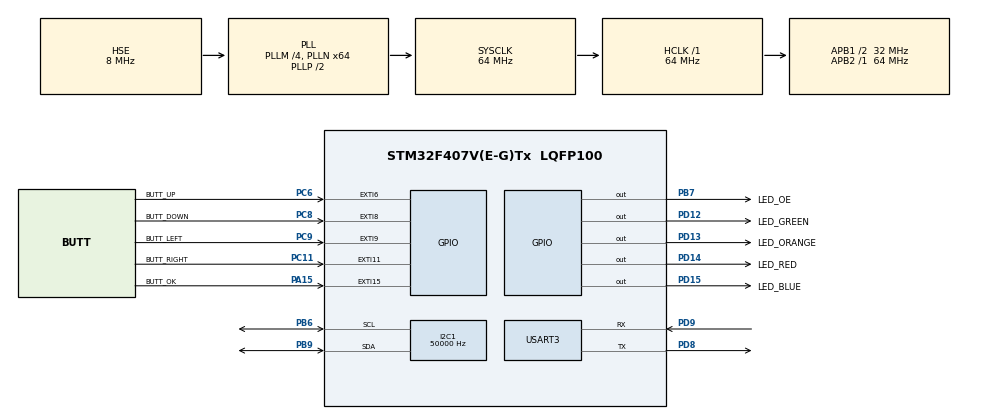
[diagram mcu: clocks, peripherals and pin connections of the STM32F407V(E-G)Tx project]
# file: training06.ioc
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Dma.Request0=USART3_RX
Dma.USART3_RX.0.Direction=DMA_PERIPH_TO_MEMORY
Dma.USART3_RX.0.FIFOMode=DMA_FIFOMODE_DISABLE
Dma.USART3_RX.0.Instance=DMA1_Stream1
Dma.USART3_RX.0.MemDataAlignment=DMA_MDATAALIGN_BYTE
Dma.USART3_RX.0.MemInc=DMA_MINC_ENABLE
Dma.USART3_RX.0.Mode=DMA_CIRCULAR
Dma.USART3_RX.0.PeriphDataAlignment=DMA_PDATAALIGN_BYTE
Dma.USART3_RX.0.PeriphInc=DMA_PINC_DISABLE
Dma.USART3_RX.0.Priority=DMA_PRIORITY_LOW
I2C1.ClockSpeed=50000
Mcu.Family=STM32F4
Mcu.Name=STM32F407V(E-G)Tx
Mcu.Package=LQFP100
Mcu.UserConstants=TIM4_PRESCALER,8;PWM_PERIOD,100;TIM10_PRESCALER,64000
NVIC.DMA1_Stream1_IRQn=true\:0\:0\:false\:false\:true\:false\:true
NVIC.EXTI15_10_IRQn=true\:0\:0\:false\:false\:true\:true\:true
NVIC.EXTI9_5_IRQn=true\:0\:0\:false\:false\:true\:true\:true
NVIC.PriorityGroup=NVIC_PRIORITYGROUP_4
PA15.GPIO_Label=BUTT_OK
PA15.GPIO_ModeDefaultEXTI=GPIO_MODE_IT_FALLING
PA15.GPIO_PuPd=GPIO_NOPULL
PA15.Signal=GPXTI15
PB6.Mode=I2C
PB6.Signal=I2C1_SCL
PB7.GPIO_Label=LED_OE
PB7.GPIO_PuPd=GPIO_PULLDOWN
PB7.Signal=GPIO_Output
PB9.Mode=I2C
PB9.Signal=I2C1_SDA
PC11.GPIO_Label=BUTT_RIGHT
PC11.GPIO_ModeDefaultEXTI=GPIO_MODE_IT_FALLING
PC11.GPIO_PuPd=GPIO_NOPULL
PC11.Signal=GPXTI11
PC6.GPIO_Label=BUTT_UP
PC6.GPIO_ModeDefaultEXTI=GPIO_MODE_IT_FALLING
PC6.GPIO_PuPd=GPIO_NOPULL
PC6.Signal=GPXTI6
PC8.GPIO_Label=BUTT_DOWN
PC8.GPIO_ModeDefaultEXTI=GPIO_MODE_IT_FALLING
PC8.GPIO_PuPd=GPIO_NOPULL
PC8.Signal=GPXTI8
PC9.GPIO_Label=BUTT_LEFT
PC9.GPIO_ModeDefaultEXTI=GPIO_MODE_IT_FALLING
PC9.GPIO_PuPd=GPIO_NOPULL
PC9.Signal=GPXTI9
PD12.GPIO_Label=LED_GREEN
PD12.Signal=GPIO_Output
PD13.GPIO_Label=LED_ORANGE
PD13.Signal=GPIO_Output
PD14.GPIO_Label=LED_RED
PD14.Signal=GPIO_Output
PD15.GPIO_Label=LED_BLUE
PD15.Signal=GPIO_Output
PD8.Mode=Asynchronous
PD8.Signal=USART3_TX
PD9.Mode=Asynchronous
PD9.Signal=USART3_RX
PH0-OSC_IN.Mode=HSE-External-Oscillator
PH0-OSC_IN.Signal=RCC_OSC_IN
PH1-OSC_OUT.Mode=HSE-External-Oscillator
PH1-OSC_OUT.Signal=RCC_OSC_OUT
ProjectManager.HeapSize=0x200
ProjectManager.StackSize=0x400
ProjectManager.TargetToolchain=STM32CubeIDE
RCC.48MHZClocksFreq_Value=32000000
RCC.AHBFreq_Value=64000000
RCC.APB1CLKDivider=RCC_HCLK_DIV2
RCC.APB1Freq_Value=32000000
RCC.APB1TimFreq_Value=64000000
RCC.APB2Freq_Value=64000000
RCC.APB2TimFreq_Value=64000000
RCC.CortexFreq_Value=64000000
RCC.HCLKFreq_Value=64000000
RCC.HSE_VALUE=8000000
RCC.HSI_VALUE=16000000
RCC.LSE_VALUE=32768
RCC.PLLM=4
RCC.PLLN=64
RCC.PLLSourceVirtual=RCC_PLLSOURCE_HSE
RCC.SYSCLKFreq_VALUE=64000000
RCC.SYSCLKSource=RCC_SYSCLKSOURCE_PLLCLK
RCC.VCOOutputFreq_Value=128000000
USART3.VirtualMode=VM_ASYNC
board=custom

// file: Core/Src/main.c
/* USER CODE BEGIN Header */
/**
  ******************************************************************************
  * @file           : main.c
  * @brief          : Main program body
  ******************************************************************************
  * @attention
  *
  * <h2><center>&copy; Copyright (c) 2021 STMicroelectronics.
  * All rights reserved.</center></h2>
  *
  * This software component is licensed by ST under BSD 3-Clause license,
  * the "License"; You may not use this file except in compliance with the
  * License. You may obtain a copy of the License at:
  *                        opensource.org/licenses/BSD-3-Clause
  *
  ******************************************************************************
  */
/* USER CODE END Header */
#include "main.h"
/* USER CODE BEGIN Includes */
#include "pca9685.h"
#include <stdio.h>
#include <string.h>
#include <ctype.h>
/* USER CODE END Includes */

/* USER CODE BEGIN PTD */
#define TX_BUF_SIZE 64
#define RX_BUF_SIZE 16
#define UART_TIMEOUT 10

#define TRUE 1
#define FALSE 0

#define DEL_SYMBOL 0x7f 		//127 - ascii code for del symbol (work as backspase as well)
#define ALL_LEDS 0xff
/* USER CODE END PTD */

I2C_HandleTypeDef hi2c1;

UART_HandleTypeDef huart3;
DMA_HandleTypeDef hdma_usart3_rx;

/* USER CODE BEGIN PV */
pcaLED_HandleTypeDef hpca1;

char ReciveBuf[RX_BUF_SIZE] = {0};
char uartReceiveChar;
char transmitBuf[TX_BUF_SIZE] = {0};

char *rxBuffPtr = ReciveBuf;

_Bool action = FALSE;
/* USER CODE END PV */

void SystemClock_Config(void);
static void MX_GPIO_Init(void);
static void MX_DMA_Init(void);
static void MX_USART3_UART_Init(void);
static void MX_I2C1_Init(void);

/* USER CODE BEGIN PFP */
static void PCA_LED_Init(void);
void parseNewCommand(void);
void printChar(char* buf);
/* USER CODE END PFP */

/* USER CODE BEGIN 0 */
int _write(int file, char* ptr, int len) {
	strncpy(transmitBuf, ptr, len);
	HAL_UART_Transmit(&huart3, (uint8_t*)transmitBuf, len, UART_TIMEOUT);
	return len;
}

/* @brief function for send one char via uart
 * @param *buf pointer to (char) value
 * @retval None
 * */
void printChar(char* buf){
	HAL_UART_Transmit(&huart3, (uint8_t*)buf, 1, UART_TIMEOUT);
}

/* @brief DMA UART3 receive complete callback
 * @param *huart pointer to uart structure
 * @retval None
 * */
void HAL_UART_RxCpltCallback (UART_HandleTypeDef * huart){
	if (uartReceiveChar == '\r') {
		*rxBuffPtr = '\0';
		rxBuffPtr = ReciveBuf;
		action = TRUE;
		return;
	}

	if ((uartReceiveChar == DEL_SYMBOL) && (rxBuffPtr > ReciveBuf)){
		rxBuffPtr--;
		printChar(&uartReceiveChar);
		return;
	}

	if ((isalnum(uartReceiveChar) || uartReceiveChar == ' ') == 0)	return;

	if (rxBuffPtr < (ReciveBuf + RX_BUF_SIZE)){
		*rxBuffPtr = uartReceiveChar;
		rxBuffPtr++;
		printChar(&uartReceiveChar);
	}
	else {
		rxBuffPtr = ReciveBuf;
		printf("\r\n--! The command is too long, try again !--\r\n");
	}
}

/* @brief parsing new string to get command from uart
 * @param none
 * @retval none
 * */
void parseNewCommand(void){
	int scanStatus;
	int ledNum = 0, ledBright = 0;
	char str1[3] = {0}, str2[3] = {0};

	scanStatus = sscanf(ReciveBuf, "%s %u %u", str1, &ledNum, &ledBright);
	if (scanStatus != 3 || (strcmp(str1, "led") != 0)){
		scanStatus = sscanf(ReciveBuf, "%s %s %u", str1, str2, &ledBright);
		ledNum = ALL_LEDS;
		if (scanStatus != 3 || (strcmp(str1, "led") != 0) || (strcmp(str2, "all") != 0)){
			printf("\r\n>>! Wrong command or format. Format: led <number> <brightness> !<<\r\n");
			return;
		}
	}
	if (ledBright > MAX_BRIGHTNESS) {
		printf("\r\n>>! Too high brightness value, will be set to 100%% !<<\r\n");
		ledBright = MAX_BRIGHTNESS;
	}
	else if (ledBright < 0){
		printf("\r\n>>! Wrong brightness value, will be set to 0%% !<<\r\n");
		ledBright = 0;
	}

	if (ledNum == ALL_LEDS) {
		if (ledBright > 0) printf("\r\n-- Light up ALL LEDs with %d%% brightness --\r\n", ledBright);
		else printf("\r\n-- Switching off ALL LEDs --\r\n");
		pcaLED_setPWM(&hpca1, LED_PIN_ALL, ledBright, DEFAULT_OFFSET);
		return;
	}
	else if (ledNum > 0 && ledNum <= MAX_NUM_OF_LEDS) {
		if (ledBright > 0) printf("\r\n-- Light up LED number %d with %d%% brightness --\r\n", ledNum, ledBright);
		else printf("\r\n-- Switching off LED number %d --\r\n", ledNum);
		pcaLED_setPWM(&hpca1, ledNum-1, ledBright, DEFAULT_OFFSET);
	}
	else printf("\r\n>>! Wrong LED number. Use 1 to 16 LED number !<<\r\n");
}

/* USER CODE END 0 */

int main(void)
{

  /* MCU Configuration--------------------------------------------------------*/

  /* Reset of all peripherals, Initializes the Flash interface and the Systick. */
  HAL_Init();

  /* Configure the system clock */
  SystemClock_Config();

  /* Initialize all configured peripherals */
  MX_GPIO_Init();
  MX_DMA_Init();
  MX_USART3_UART_Init();
  MX_I2C1_Init();

  /* USER CODE BEGIN 2 */
  HAL_Delay(100);
  PCA_LED_Init();
  UART_Start_Receive_DMA (&huart3,(uint8_t*)&uartReceiveChar, 1);

  printf("\r\n- To control LEDs use next format:\r\n"
		  	 "- led <number>(1-16/all) <brightness>(0-100)\r\n"
		  	 "- Example: led 5 100\r\n"
		  	 "- To confirm press -Enter-\r\n"
		  	 "- To correct input press -Backspace-\r\n");
  /* USER CODE END 2 */

  /* Infinite loop */
  /* USER CODE BEGIN WHILE */
  while (1)
  {
	  if (action){
		  parseNewCommand();

		  action = FALSE;
	  }
    /* USER CODE END WHILE */

  }
}

void SystemClock_Config(void)
{
  RCC_OscInitTypeDef RCC_OscInitStruct = {0};
  RCC_ClkInitTypeDef RCC_ClkInitStruct = {0};

  /** Configure the main internal regulator output voltage
  */
  __HAL_RCC_PWR_CLK_ENABLE();
  __HAL_PWR_VOLTAGESCALING_CONFIG(PWR_REGULATOR_VOLTAGE_SCALE1);
  /** Initializes the RCC Oscillators according to the specified parameters
  * in the RCC_OscInitTypeDef structure.
  */
  RCC_OscInitStruct.OscillatorType = RCC_OSCILLATORTYPE_HSE;
  RCC_OscInitStruct.HSEState = RCC_HSE_ON;
  RCC_OscInitStruct.PLL.PLLState = RCC_PLL_ON;
  RCC_OscInitStruct.PLL.PLLSource = RCC_PLLSOURCE_HSE;
  RCC_OscInitStruct.PLL.PLLM = 4;
  RCC_OscInitStruct.PLL.PLLN = 64;
  RCC_OscInitStruct.PLL.PLLP = RCC_PLLP_DIV2;
  RCC_OscInitStruct.PLL.PLLQ = 4;
  if (HAL_RCC_OscConfig(&RCC_OscInitStruct) != HAL_OK)
  {
    Error_Handler();
  }
  /** Initializes the CPU, AHB and APB buses clocks
  */
  RCC_ClkInitStruct.ClockType = RCC_CLOCKTYPE_HCLK|RCC_CLOCKTYPE_SYSCLK
                              |RCC_CLOCKTYPE_PCLK1|RCC_CLOCKTYPE_PCLK2;
  RCC_ClkInitStruct.SYSCLKSource = RCC_SYSCLKSOURCE_PLLCLK;
  RCC_ClkInitStruct.AHBCLKDivider = RCC_SYSCLK_DIV1;
  RCC_ClkInitStruct.APB1CLKDivider = RCC_HCLK_DIV2;
  RCC_ClkInitStruct.APB2CLKDivider = RCC_HCLK_DIV1;

  if (HAL_RCC_ClockConfig(&RCC_ClkInitStruct, FLASH_LATENCY_2) != HAL_OK)
  {
    Error_Handler();
  }
}

static void MX_I2C1_Init(void)
{

  hi2c1.Instance = I2C1;
  hi2c1.Init.ClockSpeed = 50000;
  hi2c1.Init.DutyCycle = I2C_DUTYCYCLE_2;
  hi2c1.Init.OwnAddress1 = 0;
  hi2c1.Init.AddressingMode = I2C_ADDRESSINGMODE_7BIT;
  hi2c1.Init.DualAddressMode = I2C_DUALADDRESS_DISABLE;
  hi2c1.Init.OwnAddress2 = 0;
  hi2c1.Init.GeneralCallMode = I2C_GENERALCALL_DISABLE;
  hi2c1.Init.NoStretchMode = I2C_NOSTRETCH_DISABLE;
  if (HAL_I2C_Init(&hi2c1) != HAL_OK)
  {
    Error_Handler();
  }

}

static void MX_USART3_UART_Init(void)
{

  huart3.Instance = USART3;
  huart3.Init.BaudRate = 115200;
  huart3.Init.WordLength = UART_WORDLENGTH_8B;
  huart3.Init.StopBits = UART_STOPBITS_1;
  huart3.Init.Parity = UART_PARITY_NONE;
  huart3.Init.Mode = UART_MODE_TX_RX;
  huart3.Init.HwFlowCtl = UART_HWCONTROL_NONE;
  huart3.Init.OverSampling = UART_OVERSAMPLING_16;
  if (HAL_UART_Init(&huart3) != HAL_OK)
  {
    Error_Handler();
  }

}

static void MX_DMA_Init(void)
{

  /* DMA controller clock enable */
  __HAL_RCC_DMA1_CLK_ENABLE();

  /* DMA interrupt init */
  /* DMA1_Stream1_IRQn interrupt configuration */
  HAL_NVIC_SetPriority(DMA1_Stream1_IRQn, 0, 0);
  HAL_NVIC_EnableIRQ(DMA1_Stream1_IRQn);

}

static void MX_GPIO_Init(void)
{
  GPIO_InitTypeDef GPIO_InitStruct = {0};

  /* GPIO Ports Clock Enable */
  __HAL_RCC_GPIOH_CLK_ENABLE();
  __HAL_RCC_GPIOD_CLK_ENABLE();
  __HAL_RCC_GPIOC_CLK_ENABLE();
  __HAL_RCC_GPIOA_CLK_ENABLE();
  __HAL_RCC_GPIOB_CLK_ENABLE();

  /*Configure GPIO pin Output Level */
  HAL_GPIO_WritePin(GPIOD, LED_GREEN_Pin|LED_ORANGE_Pin|LED_RED_Pin|LED_BLUE_Pin, GPIO_PIN_RESET);

  /*Configure GPIO pin Output Level */
  HAL_GPIO_WritePin(LED_OE_GPIO_Port, LED_OE_Pin, GPIO_PIN_RESET);

  /*Configure GPIO pins : LED_GREEN_Pin LED_ORANGE_Pin LED_RED_Pin LED_BLUE_Pin */
  GPIO_InitStruct.Pin = LED_GREEN_Pin|LED_ORANGE_Pin|LED_RED_Pin|LED_BLUE_Pin;
  GPIO_InitStruct.Mode = GPIO_MODE_OUTPUT_PP;
  GPIO_InitStruct.Pull = GPIO_NOPULL;
  GPIO_InitStruct.Speed = GPIO_SPEED_FREQ_LOW;
  HAL_GPIO_Init(GPIOD, &GPIO_InitStruct);

  /*Configure GPIO pins : BUTT_UP_Pin BUTT_DOWN_Pin BUTT_LEFT_Pin BUTT_RIGHT_Pin */
  GPIO_InitStruct.Pin = BUTT_UP_Pin|BUTT_DOWN_Pin|BUTT_LEFT_Pin|BUTT_RIGHT_Pin;
  GPIO_InitStruct.Mode = GPIO_MODE_IT_FALLING;
  GPIO_InitStruct.Pull = GPIO_NOPULL;
  HAL_GPIO_Init(GPIOC, &GPIO_InitStruct);

  /*Configure GPIO pin : BUTT_OK_Pin */
  GPIO_InitStruct.Pin = BUTT_OK_Pin;
  GPIO_InitStruct.Mode = GPIO_MODE_IT_FALLING;
  GPIO_InitStruct.Pull = GPIO_NOPULL;
  HAL_GPIO_Init(BUTT_OK_GPIO_Port, &GPIO_InitStruct);

  /*Configure GPIO pin : LED_OE_Pin */
  GPIO_InitStruct.Pin = LED_OE_Pin;
  GPIO_InitStruct.Mode = GPIO_MODE_OUTPUT_PP;
  GPIO_InitStruct.Pull = GPIO_PULLDOWN;
  GPIO_InitStruct.Speed = GPIO_SPEED_FREQ_LOW;
  HAL_GPIO_Init(LED_OE_GPIO_Port, &GPIO_InitStruct);

  /* EXTI interrupt init*/
  HAL_NVIC_SetPriority(EXTI9_5_IRQn, 0, 0);
  HAL_NVIC_EnableIRQ(EXTI9_5_IRQn);

  HAL_NVIC_SetPriority(EXTI15_10_IRQn, 0, 0);
  HAL_NVIC_EnableIRQ(EXTI15_10_IRQn);

}

/* USER CODE BEGIN 4 */
static void PCA_LED_Init(void)
{
	hpca1.address = 0x40;// << 1);
	hpca1.invLogic = NON_INV_OUT;
	hpca1.outChg = CHANGE_ON_STOP;
	hpca1.outDrv = TOTEM_POLE;
	hpca1.outNE = OUT_NE_0;
	hpca1.hi2c = &hi2c1;
	hpca1.OEport = LED_OE_GPIO_Port;
	hpca1.OEpin = LED_OE_Pin;
	pcaLED_Config(&hpca1);
}
/* USER CODE END 4 */

void Error_Handler(void)
{
  __disable_irq();
  while (1)
  {
  }
}

/************************ (C) COPYRIGHT STMicroelectronics *****END OF FILE****/
